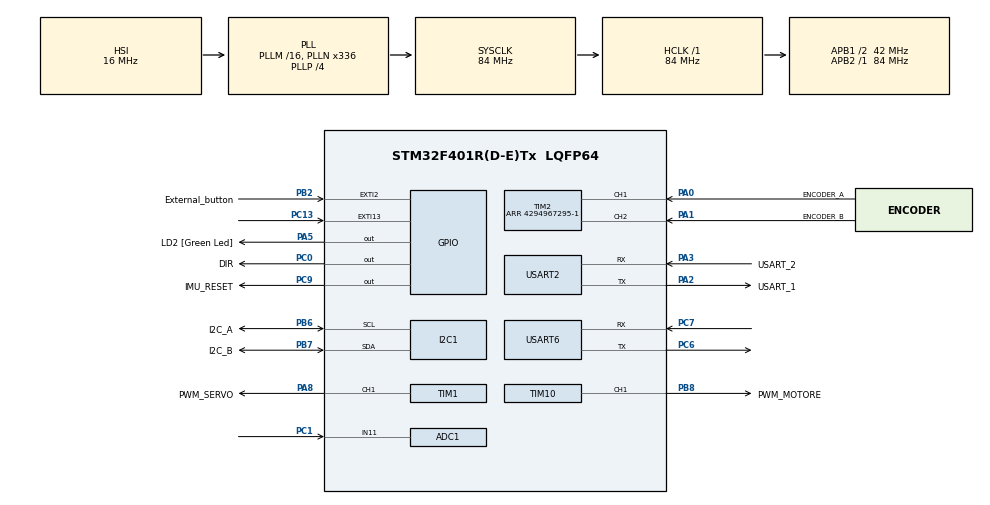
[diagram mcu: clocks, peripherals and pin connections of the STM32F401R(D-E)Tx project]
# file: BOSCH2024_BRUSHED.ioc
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ADC1.Channel-0\#ChannelRegularConversion=ADC_CHANNEL_11
ADC1.NbrOfConversionFlag=1
ADC1.Rank-0\#ChannelRegularConversion=1
ADC1.SamplingTime-0\#ChannelRegularConversion=ADC_SAMPLETIME_3CYCLES
ADC1.master=1
Dma.Request0=USART6_RX
Dma.USART6_RX.0.Direction=DMA_PERIPH_TO_MEMORY
Dma.USART6_RX.0.FIFOMode=DMA_FIFOMODE_DISABLE
Dma.USART6_RX.0.Instance=DMA2_Stream1
Dma.USART6_RX.0.MemDataAlignment=DMA_MDATAALIGN_BYTE
Dma.USART6_RX.0.MemInc=DMA_MINC_ENABLE
Dma.USART6_RX.0.Mode=DMA_NORMAL
Dma.USART6_RX.0.PeriphDataAlignment=DMA_PDATAALIGN_BYTE
Dma.USART6_RX.0.PeriphInc=DMA_PINC_DISABLE
Dma.USART6_RX.0.Priority=DMA_PRIORITY_LOW
I2C1.I2C_Mode=I2C_Fast
Mcu.Family=STM32F4
Mcu.Name=STM32F401R(D-E)Tx
Mcu.Package=LQFP64
NVIC.DMA2_Stream1_IRQn=true\:0\:0\:false\:false\:true\:false\:true\:true
NVIC.EXTI15_10_IRQn=true\:0\:0\:false\:false\:true\:true\:true\:true
NVIC.EXTI2_IRQn=true\:0\:0\:false\:false\:true\:true\:true\:true
NVIC.PriorityGroup=NVIC_PRIORITYGROUP_0
NVIC.TIM1_BRK_TIM9_IRQn=true\:0\:0\:false\:false\:true\:true\:true\:true
NVIC.TIM1_TRG_COM_TIM11_IRQn=true\:0\:0\:false\:false\:true\:true\:true\:true
NVIC.USART6_IRQn=true\:0\:0\:false\:false\:true\:true\:true\:true
PA0-WKUP.GPIO_Label=ENCODER_A
PA0-WKUP.Signal=S_TIM2_CH1_ETR
PA1.GPIO_Label=ENCODER_B
PA1.Signal=S_TIM2_CH2
PA13.GPIO_Label=TMS
PA13.Mode=Serial_Wire
PA13.Signal=SYS_JTMS-SWDIO
PA14.GPIO_Label=TCK
PA14.Mode=Serial_Wire
PA14.Signal=SYS_JTCK-SWCLK
PA2.GPIO_Label=USART_1
PA2.Mode=Asynchronous
PA2.Signal=USART2_TX
PA3.GPIO_Label=USART_2
PA3.Mode=Asynchronous
PA3.Signal=USART2_RX
PA5.GPIO_Label=LD2 [Green Led]
PA5.Signal=GPIO_Output
PA8.GPIO_Label=PWM_SERVO
PA8.Signal=S_TIM1_CH1
PB2.GPIO_Label=External_button
PB2.GPIO_ModeDefaultEXTI=GPIO_MODE_IT_RISING_FALLING
PB2.Signal=GPXTI2
PB3.GPIO_Label=SWO
PB3.Signal=SYS_JTDO-SWO
PB6.GPIO_Label=I2C_A
PB6.Mode=I2C
PB6.Signal=I2C1_SCL
PB7.GPIO_Label=I2C_B
PB7.Mode=I2C
PB7.Signal=I2C1_SDA
PB8.GPIO_Label=PWM_MOTORE
PB8.Signal=S_TIM10_CH1
PC0.GPIO_Label=DIR
PC0.Signal=GPIO_Output
PC1.Signal=ADCx_IN11
PC13-ANTI_TAMP.GPIO_ModeDefaultEXTI=GPIO_MODE_IT_RISING_FALLING
PC13-ANTI_TAMP.Signal=GPXTI13
PC14-OSC32_IN.Mode=LSE-External-Oscillator
PC14-OSC32_IN.Signal=RCC_OSC32_IN
PC15-OSC32_OUT.Mode=LSE-External-Oscillator
PC15-OSC32_OUT.Signal=RCC_OSC32_OUT
PC6.Mode=Asynchronous
PC6.Signal=USART6_TX
PC7.Mode=Asynchronous
PC7.Signal=USART6_RX
PC9.GPIO_Label=IMU_RESET
PC9.PinState=GPIO_PIN_SET
PC9.Signal=GPIO_Output
PH0\ -\ OSC_IN.Mode=HSE-External-Clock-Source
PH0\ -\ OSC_IN.Signal=RCC_OSC_IN
PH1\ -\ OSC_OUT.Mode=HSE-External-Clock-Source
PH1\ -\ OSC_OUT.Signal=RCC_OSC_OUT
ProjectManager.HeapSize=0x200
ProjectManager.StackSize=0x400
ProjectManager.TargetToolchain=STM32CubeIDE
RCC.48MHZClocksFreq_Value=48000000
RCC.AHBFreq_Value=84000000
RCC.APB1CLKDivider=RCC_HCLK_DIV2
RCC.APB1Freq_Value=42000000
RCC.APB1TimFreq_Value=84000000
RCC.APB2Freq_Value=84000000
RCC.APB2TimFreq_Value=84000000
RCC.CortexFreq_Value=84000000
RCC.HCLKFreq_Value=84000000
RCC.HSE_VALUE=8000000
RCC.HSI_VALUE=16000000
RCC.PLLN=336
RCC.PLLP=RCC_PLLP_DIV4
RCC.PLLQ=7
RCC.SYSCLKFreq_VALUE=84000000
RCC.SYSCLKSource=RCC_SYSCLKSOURCE_PLLCLK
RCC.VCOOutputFreq_Value=336000000
SH.ADCx_IN11.0=ADC1_IN11,IN11
SH.S_TIM10_CH1.0=TIM10_CH1,PWM Generation1 CH1
SH.S_TIM1_CH1.0=TIM1_CH1,PWM Generation1 CH1
SH.S_TIM2_CH1_ETR.0=TIM2_CH1,Encoder_Interface
SH.S_TIM2_CH2.0=TIM2_CH2,Encoder_Interface
TIM1.Channel-PWM\ Generation1\ CH1=TIM_CHANNEL_1
TIM1.Period=1001-1
TIM1.Prescaler=1681-1
TIM1.Pulse-PWM\ Generation1\ CH1=0
TIM10.Channel=TIM_CHANNEL_1
TIM10.Period=2000-1
TIM10.Prescaler=840-1
TIM10.Pulse=0
TIM11.Period=7000-1
TIM11.Prescaler=120-1
TIM2.EncoderMode=TIM_ENCODERMODE_TI12
TIM2.IC1Filter=0
TIM2.Period=4294967295-1
USART2.VirtualMode=VM_ASYNC
USART6.VirtualMode=VM_ASYNC
VP_TIM10_VS_ClockSourceINT.Mode=Enable_Timer
VP_TIM11_VS_ClockSourceINT.Mode=Enable_Timer
VP_TIM1_VS_ClockSourceINT.Mode=Internal
board=NUCLEO-F401RE

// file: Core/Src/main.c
/* USER CODE BEGIN Header */
/**
 ******************************************************************************
 * @file           : main.c
 * @brief          : Main program body
 ******************************************************************************
 * @attention
 *
 * Copyright (c) 2023 STMicroelectronics.
 * All rights reserved.
 *
 * This software is licensed under terms that can be found in the LICENSE file
 * in the root directory of this software component.
 * If no LICENSE file comes with this software, it is provided AS-IS.
 *
 ******************************************************************************
 */
/* USER CODE END Header */
#include "main.h"

/* USER CODE BEGIN Includes */
#include <stdlib.h>
#include <stdbool.h>
#include <string.h>
#include "math.h"

#include "Configuration.h"
#include "bno055_stm32.h"
#include "servo_motor.h"
#include "PID.h"
#include "BL_motor.h"
#include "RX_UART.h"
#include "DC_motor.h"

/* USER CODE END Includes */

/* USER CODE BEGIN PTD */
typedef struct SerialDataRX {
	float curvature_radius_ref_m; // [m]
	float linear_speed_ref_m_s; //[m/s]
	int enable; //Start Flag [bool]
	float offset;
} serialDataRX;

typedef struct SerialDataTX {
	float current_speed_rpm; // [m]
	float current_servo_angle_deg; // [m/s]
	float current_yaw_rate_deg_sec; // [°/s]
	float quaternion_x;
	float quaternion_y;
	float quaternion_z;
	float quaternion_w;
	float magne_x;
	float magne_y;
	float magne_z;
	float accel_x;
	float accel_y;
	float accel_z;
	float angle_x;
	float angle_y;
	float angle_z;
} serialDataTX;

typedef struct VehicleData {
	//Trazione
	int counts;
	int ref_count;
	int delta_count;
	float delta_angle_deg; // [°]
	float motor_speed_deg_sec; // [°/s]
	float motor_speed_RPM; // RPM
	float linear_speed_m_s; //[m/s]
	float motor_speed_ref_RPM; // RPM
	uint8_t motor_direction_ref;

	//Sterzo
	double yaw_rate_rad_sec; // [rad/s]
	double yaw_rate_deg_sec; // [°/s]
	double yaw_rate_ref_rad_sec; //[rad/s]
} vehicleData;

/* USER CODE END PTD */

/* USER CODE BEGIN PD */
#define RxBuf_SIZE 50
#define msg_SIZE 45
/* USER CODE END PD */

ADC_HandleTypeDef hadc1;

I2C_HandleTypeDef hi2c1;

TIM_HandleTypeDef htim1;
TIM_HandleTypeDef htim2;
TIM_HandleTypeDef htim10;
TIM_HandleTypeDef htim11;

UART_HandleTypeDef huart2;
UART_HandleTypeDef huart6;
DMA_HandleTypeDef hdma_usart6_rx;

/* USER CODE BEGIN PV */

serialDataRX dataRX;
serialDataTX dataTX;
vehicleData vehicleState;

//PID
PID pid_traction, pid_traction_RWD, pid_traction_DESC, pid_steering;
double u_trazione = 0;
double u_sterzo = 0;

//Event control
int Flag_10ms = 0;
int HardwareEnable = 0;
int flag_button = 0;

//User button press
uint32_t buttonPressStartTime = 0;
uint32_t buttonPressEndTime = 0;
uint32_t pressDuration = 0;
uint32_t cnt_10ms_button = 0; //Aumenta ogni 10ms
int max_flag_button;

//Variabili per calibrazione ESC
int counter_cal_ESC = 0;
float duty;
int flag_cal = 0;

//Inclinazione per il PID in discesa
float x_acceleration = 0;

//Filtro per la velocità
#define MAX_RPM_VALUES 10
float tempRPM = 0;
int PtrRPM = 0;
float MeanRPM = 0;
float ArrayRPM[MAX_RPM_VALUES];

//Serial input buffer
uint8_t RxBuf[RxBuf_SIZE];
uint8_t msg[45] = { "\0" };
uint8_t char_in = '\0';
int msg_len = 0;
int MAX_VALUES = 3;
float last_read;
int cnt_DMA;

//Test sterzo massimo
int cnt_sterzo = 0;
float angolo_sterzo = 0;

float RPM_2_m_s = ((2 * M_PI / 60) * WHEEL_RADIUS / MOTOR_REVOLUTION_FOR_ONE_WHEEL_REVOLUTION)*0.787;
/* USER CODE END PV */

void SystemClock_Config(void);
static void MX_GPIO_Init(void);
static void MX_DMA_Init(void);
static void MX_I2C1_Init(void);
static void MX_TIM1_Init(void);
static void MX_TIM10_Init(void);
static void MX_TIM11_Init(void);
static void MX_USART2_UART_Init(void);
static void MX_TIM2_Init(void);
static void MX_USART6_UART_Init(void);
static void MX_ADC1_Init(void);
/* USER CODE BEGIN PFP */
void TransmitTelemetry();
void ProceduraCalibrazione();
void resetBNO055();
/* USER CODE END PFP */

int main(void)
{

	/* MCU Configuration--------------------------------------------------------*/

	/* Reset of all peripherals, Initializes the Flash interface and the Systick. */
	HAL_Init();

	/* Configure the system clock */
	SystemClock_Config();

	/* Initialize all configured peripherals */
	MX_GPIO_Init();
	MX_DMA_Init();
	MX_I2C1_Init();
	MX_TIM1_Init();
	MX_TIM10_Init();
	MX_TIM11_Init();
	MX_USART2_UART_Init();
	MX_TIM2_Init();
	MX_USART6_UART_Init();
	MX_ADC1_Init();
	/* USER CODE BEGIN 2 */
	//IMU BNO055 Configuration
	resetBNO055();	//IMU BNO055 Configuration

	bno055_assignI2C(&hi2c1);
	bno055_setup();
	bno055_setOperationModeNDOF();

	//attivo DMA per ricezione dati seriale
	HAL_UARTEx_ReceiveToIdle_DMA(&huart6, RxBuf, RxBuf_SIZE);
	__HAL_DMA_DISABLE_IT(&hdma_usart6_rx, DMA_IT_HT);
	//PWM Servo
	HAL_TIM_PWM_Start(&htim1, TIM_CHANNEL_1);
	//PWM DC motor
	HAL_TIM_PWM_Start(&htim10, TIM_CHANNEL_1);
	//ENCODER TIMER
	HAL_TIM_Encoder_Start(&htim2, TIM_CHANNEL_ALL);
	//10ms TIMER
	HAL_TIM_Base_Start_IT(&htim11);

	//PID traction
	init_PID(&pid_traction, TRACTION_SAMPLING_TIME, MAX_U_TRACTION, MIN_U_TRACTION, 0, 1);
	tune_PID(&pid_traction, KP_TRACTION, KI_TRACTION, 0);

	//PID steering
	init_PID(&pid_steering, STEERING_SAMPLING_TIME, MAX_U_STEERING, MIN_U_STEERING, 0, 12);
	tune_PID(&pid_steering, KP_STEERING, KI_STEERING, 0);

	printf("Initialization Completed!\r\n");

	//L MOTOR ENABLE
	set_PWM_and_dir(0, vehicleState.motor_direction_ref);
	//Servo Neutral Position
	servo_motor(0);

	//Begin Interrupt Serial listening
	//HAL_UART_Receive_IT(&huart6, char_in, 1);

	/* USER CODE END 2 */

	/* Infinite loop */
	while (1) {

		/* USER CODE BEGIN 3 */
		max_flag_button = 1;
		switch(flag_button){
		//Calibrazione
		case -1:
			if(dataRX.enable == 0)
				//printf("%f\r\n", duty);
				break;
			//Idle
		case 0:
			HAL_GPIO_WritePin(GPIOA, GPIO_PIN_5, GPIO_PIN_RESET);
			HardwareEnable = 0;
			break;
		case 1:
			HAL_GPIO_WritePin(GPIOA, GPIO_PIN_5, GPIO_PIN_SET);
			HardwareEnable = 1;
			//dataRX.enable = 1;
			//dataRX.linear_speed_ref_m_s = 0.20;
			//dataRX.curvature_radius_ref_m = 0.73;
			//angolo_sterzo = -46;
			//servo_motor(angolo_sterzo);
			//printf("%f\r\n", angolo_sterzo);
			break;
		}

		//CALIBRAZIONE CON PULSANTE
		/*
		if(flag_button != -1)
			flag_cal = 0;
		 */

		//bno055_vector_t magnet = bno055_getVectorMagnetometer();
		//printf("magnet.x:%f, magnet.y:%f\r\n", magnet.x, magnet.y);
		//printf("%f;%f\r\n", magnet.x, magnet.y);

		//-------------------------------------------------------------
		//Controllo
		if(bno055_getSystemStatus() != 5)
			HAL_NVIC_SystemReset();

		if (HardwareEnable == 1 && dataRX.enable == 1) {
			if (Flag_10ms == 1) {
				Flag_10ms = 0;

				//-------------------------------------------------------------

				//TRACTION control

				//Measure speed with encoder
				vehicleState.ref_count = TIM2->ARR / 2;
				vehicleState.delta_count = vehicleState.counts - vehicleState.ref_count;

				vehicleState.delta_angle_deg = (vehicleState.delta_count * 360) / ((double) (ENCODER_PPR * ENCODER_COUNTING_MODE * GEARBOX_RATIO));
				vehicleState.motor_speed_deg_sec = vehicleState.delta_angle_deg / ENCODER_SAMPLING_TIME;
				tempRPM = DegreeSec2RPM(vehicleState.motor_speed_deg_sec);

				//Filtraggio della velocità
				ArrayRPM[PtrRPM] = tempRPM;
				MeanRPM = 0;
				for(int i = 0; i < MAX_RPM_VALUES; i++){
					MeanRPM += ArrayRPM[i];
				}
				MeanRPM /= MAX_RPM_VALUES;

				if(PtrRPM == MAX_RPM_VALUES-1)
					PtrRPM = 0;
				else
					PtrRPM++;
				vehicleState.motor_speed_RPM = MeanRPM;

				//Speed reference for motor
				vehicleState.motor_speed_ref_RPM = dataRX.linear_speed_ref_m_s / RPM_2_m_s;

				//Verifica l'inclinazine della macchina per la rampa
				bno055_vector_t u = bno055_getVectorGravity();
				x_acceleration = u.x;
				//printf("%f;%f\r\n", x_acceleration, 0);

				u_trazione = PID_controller(&pid_traction, abs(vehicleState.motor_speed_RPM), abs(vehicleState.motor_speed_ref_RPM));

				if(vehicleState.motor_speed_ref_RPM>0)
					vehicleState.motor_direction_ref = -1;
				else
					vehicleState.motor_direction_ref = 1;

				//Assegno il duty al motore
				if (vehicleState.motor_speed_ref_RPM == 0)
					set_PWM_and_dir(0, vehicleState.motor_direction_ref);
				else
					set_PWM_and_dir((uint32_t) Voltage2Duty(u_trazione), vehicleState.motor_direction_ref);

				//-------------------------------------------------------------

				//STEERING control

				//Get yawrate from IMU
				bno055_vector_t v = bno055_getVectorGyroscope();
				vehicleState.yaw_rate_deg_sec = v.z;
				vehicleState.yaw_rate_rad_sec = (vehicleState.yaw_rate_deg_sec * M_PI) / 180;
				last_read = dataRX.curvature_radius_ref_m;

				if (dataRX.curvature_radius_ref_m >= MAX_CURVATURE_RADIUS_FOR_STRAIGHT) {

					vehicleState.yaw_rate_ref_rad_sec = 0;

					u_sterzo = PID_controller(&pid_steering, vehicleState.yaw_rate_rad_sec, vehicleState.yaw_rate_ref_rad_sec);

					servo_motor(-u_sterzo); //Minus because yawrate and steering are opposite
				} else {

					vehicleState.linear_speed_m_s = vehicleState.motor_speed_RPM * RPM_2_m_s;
					if (dataRX.curvature_radius_ref_m == 0)
						vehicleState.yaw_rate_ref_rad_sec = 0;
					else
						vehicleState.yaw_rate_ref_rad_sec = vehicleState.linear_speed_m_s / dataRX.curvature_radius_ref_m;

					float yaw_rate_ref_rad_sec_abs = vehicleState.yaw_rate_ref_rad_sec;
					float yaw_rate_rad_sec_abs = vehicleState.yaw_rate_rad_sec;
					if (vehicleState.yaw_rate_ref_rad_sec < 0)
						yaw_rate_ref_rad_sec_abs = -vehicleState.yaw_rate_ref_rad_sec;
					if (vehicleState.yaw_rate_rad_sec < 0)
						yaw_rate_rad_sec_abs = -vehicleState.yaw_rate_rad_sec;

					u_sterzo = PID_controller(&pid_steering, yaw_rate_rad_sec_abs, yaw_rate_ref_rad_sec_abs);

					//Minus because yawrate and steering are opposite
					if (dataRX.curvature_radius_ref_m >= 0 && u_sterzo > 0)
						u_sterzo *= -1.0;
					if (dataRX.curvature_radius_ref_m < 0 && u_sterzo < 0)
						u_sterzo *= -1.0;

					servo_motor(u_sterzo);
				}
				dataTX.current_servo_angle_deg = u_sterzo;
			}
		} else {
			if(flag_button != -1){
				set_PWM_and_dir(0, vehicleState.motor_direction_ref);
				servo_motor(0);

				// Reset dei pid
				resetPID(&pid_steering);
				resetPID(&pid_traction);
			}
		}

	}
	/* USER CODE END 3 */
}

void SystemClock_Config(void)
{
	RCC_OscInitTypeDef RCC_OscInitStruct = {0};
	RCC_ClkInitTypeDef RCC_ClkInitStruct = {0};

	/** Configure the main internal regulator output voltage
	 */
	__HAL_RCC_PWR_CLK_ENABLE();
	__HAL_PWR_VOLTAGESCALING_CONFIG(PWR_REGULATOR_VOLTAGE_SCALE2);

	/** Initializes the RCC Oscillators according to the specified parameters
	 * in the RCC_OscInitTypeDef structure.
	 */
	RCC_OscInitStruct.OscillatorType = RCC_OSCILLATORTYPE_HSI;
	RCC_OscInitStruct.HSIState = RCC_HSI_ON;
	RCC_OscInitStruct.HSICalibrationValue = RCC_HSICALIBRATION_DEFAULT;
	RCC_OscInitStruct.PLL.PLLState = RCC_PLL_ON;
	RCC_OscInitStruct.PLL.PLLSource = RCC_PLLSOURCE_HSI;
	RCC_OscInitStruct.PLL.PLLM = 16;
	RCC_OscInitStruct.PLL.PLLN = 336;
	RCC_OscInitStruct.PLL.PLLP = RCC_PLLP_DIV4;
	RCC_OscInitStruct.PLL.PLLQ = 7;
	if (HAL_RCC_OscConfig(&RCC_OscInitStruct) != HAL_OK)
	{
		Error_Handler();
	}

	/** Initializes the CPU, AHB and APB buses clocks
	 */
	RCC_ClkInitStruct.ClockType = RCC_CLOCKTYPE_HCLK|RCC_CLOCKTYPE_SYSCLK
			|RCC_CLOCKTYPE_PCLK1|RCC_CLOCKTYPE_PCLK2;
	RCC_ClkInitStruct.SYSCLKSource = RCC_SYSCLKSOURCE_PLLCLK;
	RCC_ClkInitStruct.AHBCLKDivider = RCC_SYSCLK_DIV1;
	RCC_ClkInitStruct.APB1CLKDivider = RCC_HCLK_DIV2;
	RCC_ClkInitStruct.APB2CLKDivider = RCC_HCLK_DIV1;

	if (HAL_RCC_ClockConfig(&RCC_ClkInitStruct, FLASH_LATENCY_2) != HAL_OK)
	{
		Error_Handler();
	}
}

static void MX_ADC1_Init(void)
{

	ADC_ChannelConfTypeDef sConfig = {0};

	/** Configure the global features of the ADC (Clock, Resolution, Data Alignment and number of conversion)
	 */
	hadc1.Instance = ADC1;
	hadc1.Init.ClockPrescaler = ADC_CLOCK_SYNC_PCLK_DIV4;
	hadc1.Init.Resolution = ADC_RESOLUTION_12B;
	hadc1.Init.ScanConvMode = DISABLE;
	hadc1.Init.ContinuousConvMode = DISABLE;
	hadc1.Init.DiscontinuousConvMode = DISABLE;
	hadc1.Init.ExternalTrigConvEdge = ADC_EXTERNALTRIGCONVEDGE_NONE;
	hadc1.Init.ExternalTrigConv = ADC_SOFTWARE_START;
	hadc1.Init.DataAlign = ADC_DATAALIGN_RIGHT;
	hadc1.Init.NbrOfConversion = 1;
	hadc1.Init.DMAContinuousRequests = DISABLE;
	hadc1.Init.EOCSelection = ADC_EOC_SINGLE_CONV;
	if (HAL_ADC_Init(&hadc1) != HAL_OK)
	{
		Error_Handler();
	}

	/** Configure for the selected ADC regular channel its corresponding rank in the sequencer and its sample time.
	 */
	sConfig.Channel = ADC_CHANNEL_11;
	sConfig.Rank = 1;
	sConfig.SamplingTime = ADC_SAMPLETIME_3CYCLES;
	if (HAL_ADC_ConfigChannel(&hadc1, &sConfig) != HAL_OK)
	{
		Error_Handler();
	}

}

static void MX_I2C1_Init(void)
{

	hi2c1.Instance = I2C1;
	hi2c1.Init.ClockSpeed = 400000;
	hi2c1.Init.DutyCycle = I2C_DUTYCYCLE_2;
	hi2c1.Init.OwnAddress1 = 0;
	hi2c1.Init.AddressingMode = I2C_ADDRESSINGMODE_7BIT;
	hi2c1.Init.DualAddressMode = I2C_DUALADDRESS_DISABLE;
	hi2c1.Init.OwnAddress2 = 0;
	hi2c1.Init.GeneralCallMode = I2C_GENERALCALL_DISABLE;
	hi2c1.Init.NoStretchMode = I2C_NOSTRETCH_DISABLE;
	if (HAL_I2C_Init(&hi2c1) != HAL_OK)
	{
		Error_Handler();
	}

}

static void MX_TIM1_Init(void)
{

	TIM_ClockConfigTypeDef sClockSourceConfig = {0};
	TIM_MasterConfigTypeDef sMasterConfig = {0};
	TIM_OC_InitTypeDef sConfigOC = {0};
	TIM_BreakDeadTimeConfigTypeDef sBreakDeadTimeConfig = {0};

	htim1.Instance = TIM1;
	htim1.Init.Prescaler = 1681-1;
	htim1.Init.CounterMode = TIM_COUNTERMODE_UP;
	htim1.Init.Period = 1001-1;
	htim1.Init.ClockDivision = TIM_CLOCKDIVISION_DIV1;
	htim1.Init.RepetitionCounter = 0;
	htim1.Init.AutoReloadPreload = TIM_AUTORELOAD_PRELOAD_DISABLE;
	if (HAL_TIM_Base_Init(&htim1) != HAL_OK)
	{
		Error_Handler();
	}
	sClockSourceConfig.ClockSource = TIM_CLOCKSOURCE_INTERNAL;
	if (HAL_TIM_ConfigClockSource(&htim1, &sClockSourceConfig) != HAL_OK)
	{
		Error_Handler();
	}
	if (HAL_TIM_PWM_Init(&htim1) != HAL_OK)
	{
		Error_Handler();
	}
	sMasterConfig.MasterOutputTrigger = TIM_TRGO_RESET;
	sMasterConfig.MasterSlaveMode = TIM_MASTERSLAVEMODE_DISABLE;
	if (HAL_TIMEx_MasterConfigSynchronization(&htim1, &sMasterConfig) != HAL_OK)
	{
		Error_Handler();
	}
	sConfigOC.OCMode = TIM_OCMODE_PWM1;
	sConfigOC.Pulse = 0;
	sConfigOC.OCPolarity = TIM_OCPOLARITY_HIGH;
	sConfigOC.OCNPolarity = TIM_OCNPOLARITY_HIGH;
	sConfigOC.OCFastMode = TIM_OCFAST_DISABLE;
	sConfigOC.OCIdleState = TIM_OCIDLESTATE_RESET;
	sConfigOC.OCNIdleState = TIM_OCNIDLESTATE_RESET;
	if (HAL_TIM_PWM_ConfigChannel(&htim1, &sConfigOC, TIM_CHANNEL_1) != HAL_OK)
	{
		Error_Handler();
	}
	sBreakDeadTimeConfig.OffStateRunMode = TIM_OSSR_DISABLE;
	sBreakDeadTimeConfig.OffStateIDLEMode = TIM_OSSI_DISABLE;
	sBreakDeadTimeConfig.LockLevel = TIM_LOCKLEVEL_OFF;
	sBreakDeadTimeConfig.DeadTime = 0;
	sBreakDeadTimeConfig.BreakState = TIM_BREAK_DISABLE;
	sBreakDeadTimeConfig.BreakPolarity = TIM_BREAKPOLARITY_HIGH;
	sBreakDeadTimeConfig.AutomaticOutput = TIM_AUTOMATICOUTPUT_DISABLE;
	if (HAL_TIMEx_ConfigBreakDeadTime(&htim1, &sBreakDeadTimeConfig) != HAL_OK)
	{
		Error_Handler();
	}
	HAL_TIM_MspPostInit(&htim1);

}

static void MX_TIM2_Init(void)
{

	TIM_Encoder_InitTypeDef sConfig = {0};
	TIM_MasterConfigTypeDef sMasterConfig = {0};

	htim2.Instance = TIM2;
	htim2.Init.Prescaler = 0;
	htim2.Init.CounterMode = TIM_COUNTERMODE_UP;
	htim2.Init.Period = 4294967295-1;
	htim2.Init.ClockDivision = TIM_CLOCKDIVISION_DIV1;
	htim2.Init.AutoReloadPreload = TIM_AUTORELOAD_PRELOAD_DISABLE;
	sConfig.EncoderMode = TIM_ENCODERMODE_TI12;
	sConfig.IC1Polarity = TIM_ICPOLARITY_RISING;
	sConfig.IC1Selection = TIM_ICSELECTION_DIRECTTI;
	sConfig.IC1Prescaler = TIM_ICPSC_DIV1;
	sConfig.IC1Filter = 0;
	sConfig.IC2Polarity = TIM_ICPOLARITY_RISING;
	sConfig.IC2Selection = TIM_ICSELECTION_DIRECTTI;
	sConfig.IC2Prescaler = TIM_ICPSC_DIV1;
	sConfig.IC2Filter = 0;
	if (HAL_TIM_Encoder_Init(&htim2, &sConfig) != HAL_OK)
	{
		Error_Handler();
	}
	sMasterConfig.MasterOutputTrigger = TIM_TRGO_RESET;
	sMasterConfig.MasterSlaveMode = TIM_MASTERSLAVEMODE_DISABLE;
	if (HAL_TIMEx_MasterConfigSynchronization(&htim2, &sMasterConfig) != HAL_OK)
	{
		Error_Handler();
	}

}

static void MX_TIM10_Init(void)
{

	TIM_OC_InitTypeDef sConfigOC = {0};

	htim10.Instance = TIM10;
	htim10.Init.Prescaler = 840-1;
	htim10.Init.CounterMode = TIM_COUNTERMODE_UP;
	htim10.Init.Period = 2000-1;
	htim10.Init.ClockDivision = TIM_CLOCKDIVISION_DIV1;
	htim10.Init.AutoReloadPreload = TIM_AUTORELOAD_PRELOAD_DISABLE;
	if (HAL_TIM_Base_Init(&htim10) != HAL_OK)
	{
		Error_Handler();
	}
	if (HAL_TIM_PWM_Init(&htim10) != HAL_OK)
	{
		Error_Handler();
	}
	sConfigOC.OCMode = TIM_OCMODE_PWM1;
	sConfigOC.Pulse = 0;
	sConfigOC.OCPolarity = TIM_OCPOLARITY_HIGH;
	sConfigOC.OCFastMode = TIM_OCFAST_DISABLE;
	if (HAL_TIM_PWM_ConfigChannel(&htim10, &sConfigOC, TIM_CHANNEL_1) != HAL_OK)
	{
		Error_Handler();
	}
	HAL_TIM_MspPostInit(&htim10);

}

static void MX_TIM11_Init(void)
{

	htim11.Instance = TIM11;
	htim11.Init.Prescaler = 120-1;
	htim11.Init.CounterMode = TIM_COUNTERMODE_UP;
	htim11.Init.Period = 7000-1;
	htim11.Init.ClockDivision = TIM_CLOCKDIVISION_DIV1;
	htim11.Init.AutoReloadPreload = TIM_AUTORELOAD_PRELOAD_DISABLE;
	if (HAL_TIM_Base_Init(&htim11) != HAL_OK)
	{
		Error_Handler();
	}

}

static void MX_USART2_UART_Init(void)
{

	huart2.Instance = USART2;
	huart2.Init.BaudRate = 115200;
	huart2.Init.WordLength = UART_WORDLENGTH_8B;
	huart2.Init.StopBits = UART_STOPBITS_1;
	huart2.Init.Parity = UART_PARITY_NONE;
	huart2.Init.Mode = UART_MODE_TX_RX;
	huart2.Init.HwFlowCtl = UART_HWCONTROL_NONE;
	huart2.Init.OverSampling = UART_OVERSAMPLING_16;
	if (HAL_UART_Init(&huart2) != HAL_OK)
	{
		Error_Handler();
	}

}

static void MX_USART6_UART_Init(void)
{

	huart6.Instance = USART6;
	huart6.Init.BaudRate = 115200;
	huart6.Init.WordLength = UART_WORDLENGTH_8B;
	huart6.Init.StopBits = UART_STOPBITS_1;
	huart6.Init.Parity = UART_PARITY_NONE;
	huart6.Init.Mode = UART_MODE_TX_RX;
	huart6.Init.HwFlowCtl = UART_HWCONTROL_NONE;
	huart6.Init.OverSampling = UART_OVERSAMPLING_16;
	if (HAL_UART_Init(&huart6) != HAL_OK)
	{
		Error_Handler();
	}

}

static void MX_DMA_Init(void)
{

	/* DMA controller clock enable */
	__HAL_RCC_DMA2_CLK_ENABLE();

	/* DMA interrupt init */
	/* DMA2_Stream1_IRQn interrupt configuration */
	HAL_NVIC_SetPriority(DMA2_Stream1_IRQn, 0, 0);
	HAL_NVIC_EnableIRQ(DMA2_Stream1_IRQn);

}

static void MX_GPIO_Init(void)
{
	GPIO_InitTypeDef GPIO_InitStruct = {0};

	/* GPIO Ports Clock Enable */
	__HAL_RCC_GPIOC_CLK_ENABLE();
	__HAL_RCC_GPIOH_CLK_ENABLE();
	__HAL_RCC_GPIOA_CLK_ENABLE();
	__HAL_RCC_GPIOB_CLK_ENABLE();

	/*Configure GPIO pin Output Level */
	HAL_GPIO_WritePin(DIR_GPIO_Port, DIR_Pin, GPIO_PIN_RESET);

	/*Configure GPIO pin Output Level */
	HAL_GPIO_WritePin(LD2_GPIO_Port, LD2_Pin, GPIO_PIN_RESET);

	/*Configure GPIO pin Output Level */
	HAL_GPIO_WritePin(IMU_RESET_GPIO_Port, IMU_RESET_Pin, GPIO_PIN_SET);

	/*Configure GPIO pin : PC13 */
	GPIO_InitStruct.Pin = GPIO_PIN_13;
	GPIO_InitStruct.Mode = GPIO_MODE_IT_RISING_FALLING;
	GPIO_InitStruct.Pull = GPIO_NOPULL;
	HAL_GPIO_Init(GPIOC, &GPIO_InitStruct);

	/*Configure GPIO pins : DIR_Pin IMU_RESET_Pin */
	GPIO_InitStruct.Pin = DIR_Pin|IMU_RESET_Pin;
	GPIO_InitStruct.Mode = GPIO_MODE_OUTPUT_PP;
	GPIO_InitStruct.Pull = GPIO_NOPULL;
	GPIO_InitStruct.Speed = GPIO_SPEED_FREQ_LOW;
	HAL_GPIO_Init(GPIOC, &GPIO_InitStruct);

	/*Configure GPIO pin : LD2_Pin */
	GPIO_InitStruct.Pin = LD2_Pin;
	GPIO_InitStruct.Mode = GPIO_MODE_OUTPUT_PP;
	GPIO_InitStruct.Pull = GPIO_NOPULL;
	GPIO_InitStruct.Speed = GPIO_SPEED_FREQ_LOW;
	HAL_GPIO_Init(LD2_GPIO_Port, &GPIO_InitStruct);

	/*Configure GPIO pin : External_button_Pin */
	GPIO_InitStruct.Pin = External_button_Pin;
	GPIO_InitStruct.Mode = GPIO_MODE_IT_RISING_FALLING;
	GPIO_InitStruct.Pull = GPIO_NOPULL;
	HAL_GPIO_Init(External_button_GPIO_Port, &GPIO_InitStruct);

	/* EXTI interrupt init*/
	HAL_NVIC_SetPriority(EXTI2_IRQn, 0, 0);
	HAL_NVIC_EnableIRQ(EXTI2_IRQn);

	HAL_NVIC_SetPriority(EXTI15_10_IRQn, 0, 0);
	HAL_NVIC_EnableIRQ(EXTI15_10_IRQn);

}

/* USER CODE BEGIN 4 */
//Timer11 for temporization
void HAL_TIM_PeriodElapsedCallback(TIM_HandleTypeDef *htim) {
	if (htim == &htim11) {
		Flag_10ms = 1;
		TransmitTelemetry();

		if (dataRX.curvature_radius_ref_m = last_read){
			cnt_DMA++;
			if(cnt_DMA >= 5){
				HAL_UARTEx_ReceiveToIdle_DMA(&huart6, RxBuf, RxBuf_SIZE);
				cnt_DMA = 0;
			}
		}
		//Encoder
		vehicleState.counts = TIM2->CNT;
		TIM2->CNT = TIM2->ARR / 2;

		cnt_10ms_button++;

		//Variabile per la calibrazione
		if(flag_button == -1){
			counter_cal_ESC++;
		}

		if(flag_button == 1){
			cnt_sterzo++;
		}

		// Prova per aumentare lo sterzo gradualmente
		if(cnt_sterzo == 200){
			cnt_sterzo = 0;
			angolo_sterzo -= 5;
		} else if(angolo_sterzo < -45){
			angolo_sterzo = -30;
		}

	}
}

//USART2 -> ST_Link UART for DEBUG with USB (e.g. PUTTY)
int __io_putchar(int ch) {
	HAL_UART_Transmit(&huart2, (uint8_t*) &ch, 1, 0xFFFF); //putty
	HAL_UART_Transmit(&huart6, (uint8_t*) &ch, 1, 0xFFFF); //rpi
	return ch;
}

//-------------------------------------------------------------
//BLUE user button
void HAL_GPIO_EXTI_Callback(uint16_t GPIO_Pin) {
	if (GPIO_Pin == GPIO_PIN_13 ||GPIO_Pin == GPIO_PIN_2) {
		if (HAL_GPIO_ReadPin(GPIOC, GPIO_PIN_13) == GPIO_PIN_RESET) { // Button pressed
			buttonPressStartTime = cnt_10ms_button;

		} else { // Button released
			buttonPressEndTime = cnt_10ms_button;

			//Verifico quantotemp ho tenuto premuto il tasto
			pressDuration = buttonPressEndTime - buttonPressStartTime;
			if (pressDuration < SHORT_PRESS_THRESHOLD)
			{
				if(flag_button >= 0 && flag_button < max_flag_button){
					flag_button++;
				}
				else
				{
					flag_button = 0;
				}
			} else if (pressDuration >= LONG_PRESS_THRESHOLD)
			{
				flag_button = -1;
				counter_cal_ESC = 0;
			}
		}
	}
}

//-------------------------------------------------------------
// COMUNICAZIONE (RICEZIONE DATI)
void HAL_UARTEx_RxEventCallback(UART_HandleTypeDef *huart, uint16_t Size){
	if (huart->Instance == USART6){
		memcpy(msg, RxBuf, Size);
		float floatArray[MAX_VALUES];
		parseCSV(msg, floatArray);

		if(floatArray[0] == 0 || floatArray[0] == 1){
			dataRX.enable = floatArray[0];
			dataRX.linear_speed_ref_m_s = floatArray[1];
			dataRX.curvature_radius_ref_m = floatArray[2];
		}

		if(floatArray[0] == 3){
			// Reset dei pid
			resetPID(&pid_steering);
			resetPID(&pid_traction);
			resetPID(&pid_traction_RWD);
			resetPID(&pid_traction_DESC);
		}

		HAL_UARTEx_ReceiveToIdle_DMA(&huart6, RxBuf, RxBuf_SIZE);
	}
}

// COMUNICAZIONE (TRASMISSIONE DATI)
void TransmitTelemetry(){
	dataTX.current_speed_rpm = vehicleState.motor_speed_RPM;
	dataTX.current_yaw_rate_deg_sec = vehicleState.yaw_rate_deg_sec;

	bno055_vector_t accel = bno055_getVectorAccelerometer();
	bno055_vector_t angle = bno055_getVectorGyroscope();
	bno055_vector_t magne = bno055_getVectorMagnetometer();
	bno055_vector_t quat = bno055_getVectorQuaternion();
	dataTX.accel_x = accel.x;
	dataTX.accel_y = accel.y;
	dataTX.accel_z = accel.z;
	dataTX.angle_x = angle.x;
	dataTX.angle_y = angle.y;
	dataTX.angle_z = angle.z;
	dataTX.magne_x = magne.x;
	dataTX.magne_y = magne.y;
	dataTX.magne_z = magne.z;
	dataTX.quaternion_x = quat.x;
	dataTX.quaternion_y = quat.y;
	dataTX.quaternion_z = quat.z;
	dataTX.quaternion_w = quat.w;
	printf("%2.4f, %2.4f, %2.4f, %2.4f, %2.4f, %2.4f, %2.4f, %2.4f, %2.4f, %2.4f\r\n", dataTX.accel_x, dataTX.accel_y, dataTX.accel_z, dataTX.angle_x, dataTX.angle_y, dataTX.angle_z, dataTX.quaternion_x, dataTX.quaternion_y, dataTX.quaternion_z, dataTX.quaternion_w);
}

/* USER CODE END 4 */

void Error_Handler(void)
{
	__disable_irq();
	while (1) {
	}
}
